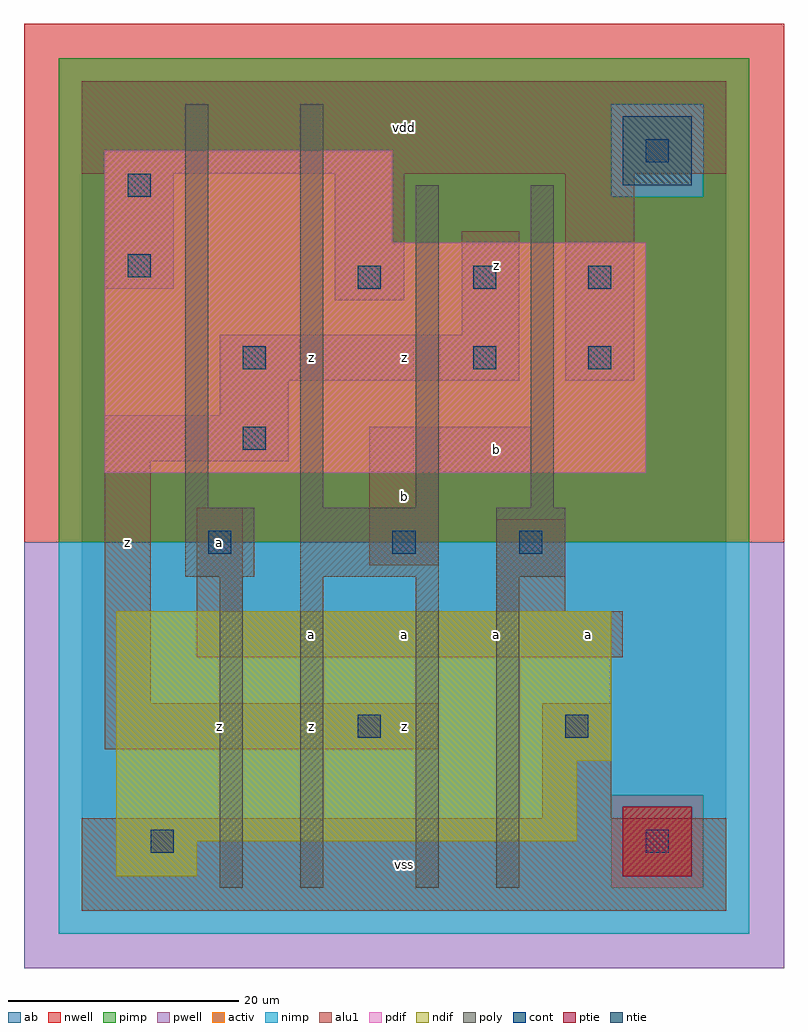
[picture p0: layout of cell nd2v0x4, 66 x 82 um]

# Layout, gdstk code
import gdstk
lib = gdstk.Library(unit=1e-6, precision=1e-09)
def R(c, l, rs):  # rectangles x0, y0, x1, y1
    for r in rs: c.add(gdstk.rectangle(r[:2], r[2:], *l))
def A(c, l, x, y, w, h, nx, ny, dx, dy):  # array of equal rectangles
    R(c, l, [(x+i*dx, y+j*dy, x+i*dx+w, y+j*dy+h) for i in range(nx) for j in range(ny)])
ndif = (3, 0)
pdif = (4, 0)
ntie = (5, 0)
ptie = (6, 0)
cont = (25, 0)
pwell = (41, 0)
nwell = (42, 0)
activ = (43, 0)
pimp = (44, 0)
nimp = (45, 0)
poly = (46, 0)
alu1 = (49, 0)
ab = (63, 0)

nd2v0x4 = lib.new_cell('nd2v0x4')
R(nd2v0x4, ndif, [(3,3,10,6), (3,6,43,13), (3,13,46,26)])
R(nd2v0x4, pdif, [(2,38,49,58), (2,58,27,66)])
R(nd2v0x4, ntie, [(47,63,53,69)])
R(nd2v0x4, ptie, [(47,3,53,9)])
A(nd2v0x4, cont, 24, 54, 2, 2, 3, 1, 10, 0)
R(nd2v0x4, cont, [(6,5,8,7), (49,5,51,7), (24,15,26,17), (42,15,44,17), (11,31,13,33), (27,31,29,33), (38,31,40,33), (14,40,16,42), (14,47,16,49), (34,47,36,49), (44,47,46,49), (4,55,6,57), (4,62,6,64), (49,65,51,67)])
R(nd2v0x4, pwell, [(-5,-5,61,32)])
R(nd2v0x4, nwell, [(-5,32,61,77)])
R(nd2v0x4, activ, [(3,3,10,6), (47,3,53,9), (3,6,43,13), (3,13,46,26), (2,38,49,58), (2,58,27,66), (47,63,53,69)])
R(nd2v0x4, pimp, [(46,2,54,10), (-2,32,58,62), (-2,62,46,70), (54,62,58,70), (-2,70,58,74)])
R(nd2v0x4, nimp, [(-2,-2,58,2), (-2,2,46,10), (54,2,58,10), (-2,10,58,32), (46,62,54,70)])
R(nd2v0x4, poly, [(12,2,14,29), (19,2,21,29), (29,2,31,29), (36,2,38,29), (9,29,15,35), (19,29,31,35), (36,29,42,35), (9,35,11,70), (19,35,21,70), (29,35,31,63), (39,35,41,63)])
R(nd2v0x4, alu1, [(0,0,56,8), (40,8,46,18), (2,14,31,18), (2,18,6,39), (10,22,47,26), (10,26,14,35), (36,26,42,34), (25,30,31,38), (25,38,39,42), (2,39,18,43), (12,43,18,46), (12,46,38,50), (42,46,48,64), (33,50,38,59), (22,53,28,64), (2,54,8,64), (0,64,56,72)])
R(nd2v0x4, ab, [(0,0,56,72)])
nd2v0x4.add(gdstk.Label('z', (4,32), layer=49, texttype=0))
nd2v0x4.add(gdstk.Label('z', (20,16), layer=49, texttype=0))
nd2v0x4.add(gdstk.Label('z', (12,16), layer=49, texttype=0))
nd2v0x4.add(gdstk.Label('a', (12,32), layer=49, texttype=0))
nd2v0x4.add(gdstk.Label('a', (20,24), layer=49, texttype=0))
nd2v0x4.add(gdstk.Label('z', (20,48), layer=49, texttype=0))
nd2v0x4.add(gdstk.Label('vss', (28,4), layer=49, texttype=0))
nd2v0x4.add(gdstk.Label('z', (28,16), layer=49, texttype=0))
nd2v0x4.add(gdstk.Label('a', (28,24), layer=49, texttype=0))
nd2v0x4.add(gdstk.Label('a', (36,24), layer=49, texttype=0))
nd2v0x4.add(gdstk.Label('b', (36,40), layer=49, texttype=0))
nd2v0x4.add(gdstk.Label('b', (28,36), layer=49, texttype=0))
nd2v0x4.add(gdstk.Label('z', (28,48), layer=49, texttype=0))
nd2v0x4.add(gdstk.Label('z', (36,56), layer=49, texttype=0))
nd2v0x4.add(gdstk.Label('vdd', (28,68), layer=49, texttype=0))
nd2v0x4.add(gdstk.Label('a', (44,24), layer=49, texttype=0))

lib.write_gds('nd2v0x4.gds')
